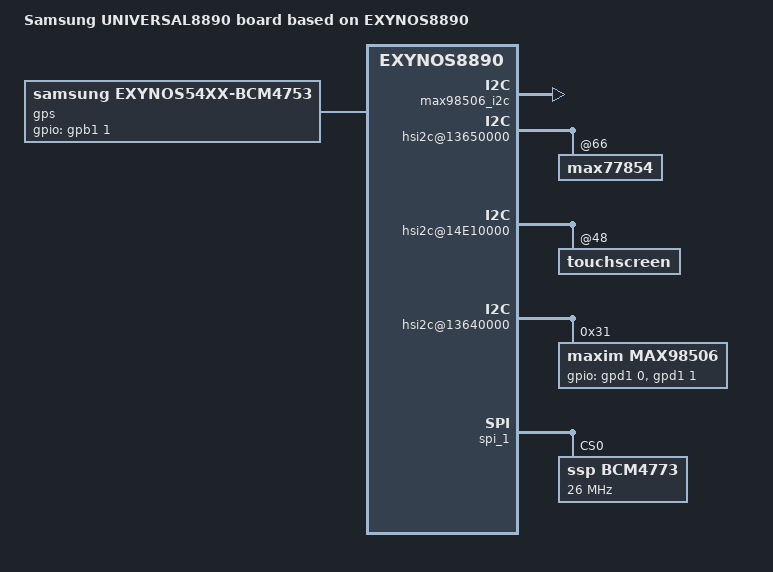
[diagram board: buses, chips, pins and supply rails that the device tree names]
/*
 * SAMSUNG UNIVERSAL8890 board device tree source
 *
 * Copyright (c) 2013 Samsung Electronics Co., Ltd.
 *		http://www.samsung.com
 *
 * This program is free software; you can redistribute it and/or modify
 * it under the terms of the GNU General Public License version 2 as
 * published by the Free Software Foundation.
*/

/dts-v1/;
#include "exynos8890-herolte_common.dtsi"
#include "exynos8890-hero2lte_gpio_03.dtsi"
#include "exynos8890-hero2lte_battery_eur_03.dtsi"
#include "exynos8890-sound-cs47l91.dtsi"
#include "exynos8890-luckylte_mst.dtsi"
#include "exynos8890-hero2lte_fingerprint-sensor_03.dtsi"
#include "exynos8890-hero2lte_display_00.dtsi"
#include "exynos8890-hero2lte_motor.dtsi"
#include "exynos8890-hero2lte_svcled.dtsi"

/ {
	model = "Samsung UNIVERSAL8890 board based on EXYNOS8890";
	model_info-chip = <8890>;
	model_info-platform = "android";
	model_info-subtype = "samsung";
	model_info-hw_rev = <3>;
	model_info-hw_rev_end = <3>;
	compatible = "samsung,exynos8890", "samsung,UNIVERSAL8890";

	audio_pdata {
		compatible = "samsung,audio-pdata";

		imp_table_CAN = <
			/* min      max gain */
			   0         13    0
			  14         42    8
			  43        100   11
			 101        200   14
			 201        450   15
			 451       1000   15
			1001 0x7fffffff   11
		>;

		seamless_voicewakeup;
		status = "okay";
	};

	pinctrl@10580000 {
		codec_irq: codec-irq {
			samsung,pins = "gpa2-6";
			samsung,pin-function = <0xf>;
			samsung,pin-pud = <0>;
		};
		max98506_ctrl: max98506-ctl {
			samsung,pins ="gpa2-2";
			samsung,pin-function = <0>;
			samsung,pin-pud = <0>;
			samsung,pin-con-pdn =<2>;
			samsung,pin-pud-pdn = <0>;
		};
	};

	pinctrl@136D0000 {
		max98506_i2c: max98506-i2c {
			samsung,pins = "gpd1-0", "gpd1-1";
			samsung,pin-pud = <0>;
			status = "okay";
		};
	};

	pinctrl@14CC0000 {
		codec_reset: codec-reset {
			samsung,pins ="gpe6-5";
			samsung,pin-function = <1>;
			samsung,pin-pud = <1>;
			samsung,pin-con-pdn =<3>;
			samsung,pin-pud-pdn = <1>;
			samsung,pin-val = <0>;
		};
	};

	hsi2c@13650000 {
		status = "okay";

		max77854@66 {
			status = "okay";
		};
	};

	hsi2c@14E10000 {
		touchscreen@48{
			sec,ds_det = <&gpi2 2 0>;
			sec,firmware_name = "tsp_sec/hero_ub.bin";
			sec,project_name = "HERO2", "G935";
		};
	};

	hsi2c@13640000 {
		status = "okay";
		max98506@31 {
			compatible = "maxim,max98506";
			reg = <0x31>;
			pinctrl-names = "default";
			pinctrl-0 = <&max98506_i2c &max98506_ctrl>;
			gpios = <&gpd1 0 0
				&gpd1 1 0
				>;
			i2c-gpio,delay-us = <2>;
			maxim,platform_type = <0>;
			maxim,spk-gain = <0x14>;
			maxim,sysclk = <12288000>;
			maxim,vmon_slot = <0>;
			maxim,platform_info = <0 0x4000 0x0F010203 0x0FF10203 0x00000000 40>;
			maxim,boost_step = <
						0x0F 0x0F 0x0F 0x0F
						0x0F 0x0F 0x0F 0x0F
						0x0F 0x0F 0x0F 0x0F
						0x0F 0x0F 0x02 0x00
						>;
			maxim,adc_threshold = <7>;
			maxim,registers-of-amp =
				<0x1F 0x00>,
				<0x21 0xC0>,
				<0x2F 0x00>;
		};
	};

	spi_1: spi@14d30000 {
		#address-cells = <1>;
		#size-cells = <0>;

		pinctrl-names = "default";
		pinctrl-0 = <&spi1_mosi_sck_ssn &spi1_miso>;

		num-cs = <1>;
		status = "okay";

		BCM4773@0 {
			compatible = "ssp,BCM4773";
			reg = <0>;
			spi-max-frequency = <26000000>;
			spi-cpol;
			spi-cpha;
			pinctrl-names = "default";
			pinctrl-0 = <&ssp_host_req &ssp_mcu_req &ssp_mcu_resp &ssp_batch_wake_irq>;

			gpio-controller;
			#gpio-cells = <2>;
			ssp-host-req = <&gpa3 4 0x00>;
			ssp-mcu-req = <&gpe6 4 0x00>;
			ssp-mcu-resp = <&gpg0 2 0x00>;
			ssp-batch-wake-irq = <&gpa3 1 0x00>;
			ssp-acc-position = <7>;
			ssp-mag-position = <4>;
			ssp-sns-combination = <0>;
			ssp,prox-hi_thresh = <2000>;
			ssp,prox-low_thresh = <1400>;
			ssp-ap-rev = <1>;
			ssp-mag-array = <10020 179 181 230 9097 (-150) (-179) 189 10850>;
			ssp-glass-type = <1>;

			controller-data {
				cs-gpio = <&gpe2 5 0>;
				samsung,spi-feedback-delay = <0>;
				};
			};
	};

	gps {
		compatible = "samsung,exynos54xx-bcm4753";

		pinctrl-names = "default";
		//pinctrl-0 = <&ssp_gps_pwr_en &ssp_host_wake>;
		pinctrl-0 = <&ssp_gps_pwr_en>;

		gpios = <&gpb1 1 0x0
			      //&gpa3 1 0x0
				>;
		status = "okay";
	};

	pinctrl@14CC0000 {
		tflash_en: tfalsh-en {
			samsung,pins = "gpe0-5";
			samsung,pin-pud = <0>;
		};
	};

	pinctrl@136D0000 {
		fimc_is_mclk0_fn: fimc_is_mclk0_fn {
			samsung,pins = "gpk0-0";
			samsung,pin-function = <2>;
			samsung,pin-pud = <0>;
			samsung,pin-drv = <1>;
		};

		fimc_is_mclk2_fn: fimc_is_mclk2_fn {
			samsung,pins = "gpk0-2";
			samsung,pin-function = <2>;
			samsung,pin-pud = <0>;
			samsung,pin-drv = <0>;
		};
	};

	pinctrl@15690000 {
		sd2_bus1: sd2-bus-width1 {
			samsung,pins = "gpj0-3";
			samsung,pin-function = <2>;
			samsung,pin-pud = <0>;
			samsung,pin-drv = <1>;
		};

		sd2_bus4: sd2-bus-width4 {
			samsung,pins = "gpj0-4", "gpj0-5", "gpj0-6";
			samsung,pin-function = <2>;
			samsung,pin-pud = <0>;
			samsung,pin-drv = <1>;
		};
	};
};
